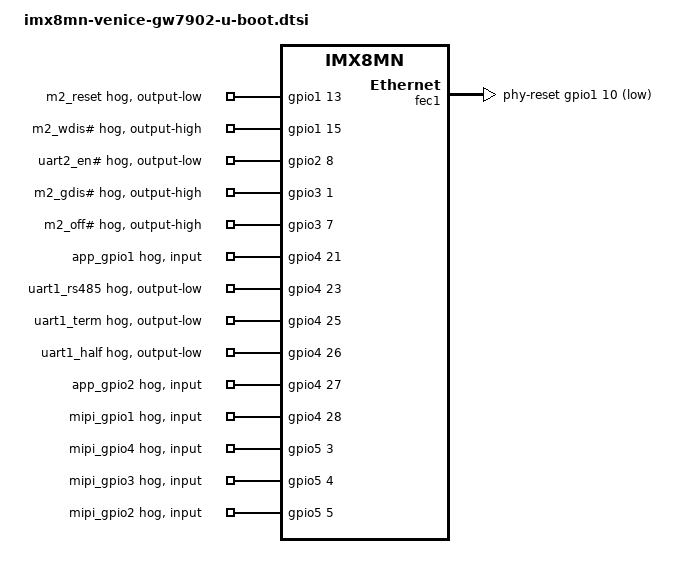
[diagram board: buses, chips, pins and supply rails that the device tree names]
// SPDX-License-Identifier: GPL-2.0+
/*
 * Copyright 2021 Gateworks Corporation
 */

&{/soc@0} {
	u-boot,dm-pre-reloc;
	u-boot,dm-spl;
};

&clk {
	u-boot,dm-spl;
	u-boot,dm-pre-reloc;
	/delete-property/ assigned-clocks;
	/delete-property/ assigned-clock-parents;
	/delete-property/ assigned-clock-rates;
};

&osc_24m {
	u-boot,dm-spl;
	u-boot,dm-pre-reloc;
};

&aips1 {
	u-boot,dm-spl;
	u-boot,dm-pre-reloc;
};

&aips2 {
	u-boot,dm-spl;
};

&aips3 {
	u-boot,dm-spl;
};

&iomuxc {
	u-boot,dm-spl;
};

&gpio1 {
	m2rst {
		gpio-hog;
		output-low;
		gpios = <13 GPIO_ACTIVE_HIGH>;
		line-name = "m2_reset";
	};

	m2wdis {
		gpio-hog;
		output-high;
		gpios = <15 GPIO_ACTIVE_HIGH>;
		line-name = "m2_wdis#";
	};
};

&gpio2 {
	uart2en {
		gpio-hog;
		output-low;
		gpios = <8 GPIO_ACTIVE_HIGH>;
		line-name = "uart2_en#";
	};
};

&gpio3 {
	m2gdis {
		gpio-hog;
		output-high;
		gpios = <1 GPIO_ACTIVE_HIGH>;
		line-name = "m2_gdis#";
	};

	m2off {
		gpio-hog;
		output-high;
		gpios = <7 GPIO_ACTIVE_HIGH>;
		line-name = "m2_off#";
	};
};

&gpio4 {
	appgpio1 {
		gpio-hog;
		input;
		gpios = <21 GPIO_ACTIVE_HIGH>;
		line-name = "app_gpio1";
	};

	uart1rs485 {
		gpio-hog;
		output-low;
		gpios = <23 GPIO_ACTIVE_HIGH>;
		line-name = "uart1_rs485";
	};

	uart1term {
		gpio-hog;
		output-low;
		gpios = <25 GPIO_ACTIVE_HIGH>;
		line-name = "uart1_term";
	};

	uart1half {
		gpio-hog;
		output-low;
		gpios = <26 GPIO_ACTIVE_HIGH>;
		line-name = "uart1_half";
	};

	appgpio2 {
		gpio-hog;
		input;
		gpios = <27 GPIO_ACTIVE_HIGH>;
		line-name = "app_gpio2";
	};

	mipigpio1 {
		gpio-hog;
		input;
		gpios = <28 GPIO_ACTIVE_HIGH>;
		line-name = "mipi_gpio1";
	};
};

&gpio5 {
	mipigpio4 {
		gpio-hog;
		input;
		gpios = <3 GPIO_ACTIVE_HIGH>;
		line-name = "mipi_gpio4";
	};

	mipigpio3 {
		gpio-hog;
		input;
		gpios = <4 GPIO_ACTIVE_HIGH>;
		line-name = "mipi_gpio3";
	};

	mipigpio2 {
		gpio-hog;
		input;
		gpios = <5 GPIO_ACTIVE_HIGH>;
		line-name = "mipi_gpio2";
	};
};

&uart2 {
	u-boot,dm-spl;
};

&pinctrl_uart2 {
	u-boot,dm-spl;
};

&usdhc3 {
	u-boot,dm-spl;
};

&pinctrl_usdhc3 {
	u-boot,dm-spl;
};

&i2c1 {
	u-boot,dm-spl;
};

&pinctrl_i2c1 {
	u-boot,dm-spl;
};

&i2c2 {
	u-boot,dm-spl;
};

&pinctrl_i2c2 {
	u-boot,dm-spl;
};

&fec1 {
	phy-reset-gpios = <&gpio1 10 GPIO_ACTIVE_LOW>;
	phy-reset-duration = <1>;
	phy-reset-post-delay = <300>;
};

&pinctrl_fec1 {
	u-boot,dm-spl;
};

&{/soc@0/bus@30800000/i2c@30a20000/pmic@4b} {
	u-boot,dm-spl;
};

&{/soc@0/bus@30800000/i2c@30a20000/pmic@4b/regulators} {
	u-boot,dm-spl;
};

&pinctrl_pmic {
	u-boot,dm-spl;
};

